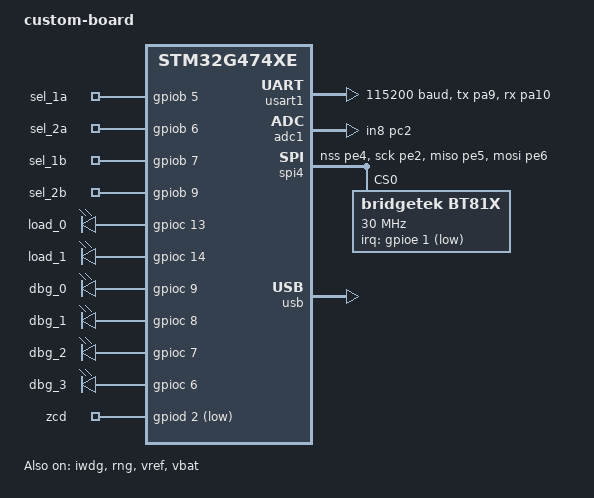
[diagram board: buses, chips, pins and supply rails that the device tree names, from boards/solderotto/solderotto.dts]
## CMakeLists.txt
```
cmake_minimum_required(VERSION 4.0)

find_package(Zephyr REQUIRED HINTS $ENV{ZEPHYR_BASE})
project(app LANGUAGES C)

target_sources(app PRIVATE
        src/main.c
        src/wave_control.c
        src/display.c
        src/storage.c
        src/pid.c
        src/debug.c
        src/moving_average.c
        src/channel.c
        src/comms.c
)

target_include_directories(app PRIVATE include)
```

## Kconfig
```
# Copyright (c) 2021 Nordic Semiconductor ASA
# SPDX-License-Identifier: Apache-2.0
#
# This file is the application Kconfig entry point. All application Kconfig
# options can be defined here or included via other application Kconfig files.
# You can browse these options using the west targets menuconfig (terminal) or
# guiconfig (GUI).

menu "Zephyr"
source "Kconfig.zephyr"
endmenu

module = APP
module-str = APP
source "subsys/logging/Kconfig.template.log_config"

module = CHANNEL
module-str = CHANNEL
source "subsys/logging/Kconfig.template.log_config"

module = DISPLAY
module-str = DISPLAY
source "subsys/logging/Kconfig.template.log_config"

module = WAVE_CTRL
module-str = WAVE_CTRL
source "subsys/logging/Kconfig.template.log_config"
```

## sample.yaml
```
# This file is provided so that the application can be compiled using Twister,
# the Zephyr testing tool. In this file, multiple combinations can be specified,
# so that you can easily test all of them locally or in CI.
sample:
  description: Example application
  name: example-application 
common:
  build_only: true
  integration_platforms:
    - solderotto
tests:
  app.default: {}
  app.debug:
    extra_overlay_confs:
      - debug.conf
```

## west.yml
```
manifest:
  self:
    west-commands: scripts/west-commands.yml

  remotes:
    - name: zephyrproject-rtos
      url-base: https://github.com/zephyrproject-rtos

  projects:
    - name: zephyr
      remote: zephyrproject-rtos
      revision: v4.2.0
      import:
        # By using name-allowlist we can clone only the modules that are
        # strictly needed by the application.
        name-allowlist:
          - cmsis_6      # required by the ARM port
          - hal_stm32  # required by the nucleo_f302r8 board (STM32 based)
          - segger     # required by Segger RTT
          - mcuboot
          - mbedtls
        path-prefix: deps
```

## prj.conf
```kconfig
# Log config
CONFIG_LOG=y
CONFIG_LOG_MODE_DEFERRED=y
CONFIG_LOG_RUNTIME_FILTERING=y
CONFIG_LOG_BUFFER_SIZE=2048
CONFIG_LOG_PRINTK=y
CONFIG_LOG_PROCESS_TRIGGER_THRESHOLD=0
CONFIG_COVERAGE=n
CONFIG_LOG_TAG_MAX_LEN=8

# RTT config
CONFIG_USE_SEGGER_RTT=y
CONFIG_LOG_BACKEND_UART=n
CONFIG_LOG_BACKEND_RTT=y

# Thread config
CONFIG_THREAD_MONITOR=y
CONFIG_THREAD_NAME=y

# Debugging
CONFIG_DEBUG_OPTIMIZATIONS=y
CONFIG_APP_LOG_LEVEL_DBG=y
#CONFIG_CHANNEL_LOG_LEVEL_DBG=y

# Storage configuration
CONFIG_NVS=y
```

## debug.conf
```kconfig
# Copyright (c) 2021 Nordic Semiconductor ASA
# SPDX-License-Identifier: Apache-2.0
#
# This is a Kconfig fragment which can be used to enable debug-related options
# in the application. See the README for more details.

# compiler
CONFIG_DEBUG_OPTIMIZATIONS=y
CONFIG_THREAD_RUNTIME_STATS=y
CONFIG_DEBUG_THREAD_INFO=y

# logging
CONFIG_LOG=y
CONFIG_APP_LOG_LEVEL_DBG=y
```

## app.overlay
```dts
/* SPDX-License-Identifier: Apache-2.0 */

/ {

};
```

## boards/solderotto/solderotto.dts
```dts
/*
 *
 * SPDX-License-Identifier: Apache-2.0
 */

/dts-v1/;
#include <st/g4/stm32g474Xe.dtsi>
#include <st/g4/stm32g474r(b-c-e)tx-pinctrl.dtsi>
#include <zephyr/dt-bindings/input/input-event-codes.h>

/ {
	model = "custom-board";
	compatible = "st,stm-custom";

	chosen {
		zephyr,sram = &sram0;
		zephyr,flash = &flash0;
		zephyr,code-partition = &slot0_partition;
	};

	channel_out {
		compatible = "gpio-leds";
		sel_1a: sel_1a{
			gpios = <&gpiob 5 GPIO_ACTIVE_HIGH>;
		};
		sel_2a: sel_2a {
			gpios = <&gpiob 6 GPIO_ACTIVE_HIGH>;
		};
		sel_1b: sel_1b {
			gpios = <&gpiob 7 GPIO_ACTIVE_HIGH>;
		};
		sel_2b: sel_2b {
			gpios = <&gpiob 9 GPIO_ACTIVE_HIGH>;
		};
		load_0: load0 {
			gpios = <&gpioc 13 GPIO_ACTIVE_HIGH>;
		};
		load_1: load1 {
			gpios = <&gpioc 14 GPIO_ACTIVE_HIGH>;
		};
		dbg_0: dbg_0 {
			gpios = <&gpioc 9 GPIO_OPEN_DRAIN>;
		};
		dbg_1: dbg_1 {
			gpios = <&gpioc 8 GPIO_OPEN_DRAIN>;
		};
		dbg_2: dbg_2 {
			gpios = <&gpioc 7 GPIO_OPEN_DRAIN>;
		};
		dbg_3: dbg_3 {
			gpios = <&gpioc 6 GPIO_OPEN_DRAIN>;
		};
	};

	buttons {
		compatible = "gpio-keys";

		zcd0: zcd_0 {
			gpios = <&gpiod 2 GPIO_ACTIVE_LOW>;
			label = "zcd";
		};
	};

	aliases {
		volt-sensor0 = &vref;
		volt-sensor1 = &vbat;
		ch0-sel-1a = &sel_1a;
		ch0-sel-2a = &sel_2a;
		ch0-sel-1b = &sel_1b;
		ch0-sel-2b = &sel_2b;
		ch0-load-a = &load_0;
		ch0-load-b = &load_1;
		zcd = &zcd0;
		dbg-0 = &dbg_0;
		dbg-1 = &dbg_1;
		dbg-2 = &dbg_2;
		dbg-3 = &dbg_3;
	};

//	soc {
//		quadspi: quadspi@a0001000 {
//			compatible = "st,stm32-qspi";
//			#address-cells = <1>;
//			#size-cells = <0>;
//			reg = <0xa0001000 0x400>;
//			interrupts = <71 0>;
//			clocks = <&rcc STM32_CLOCK_BUS_AHB3 0x00000100>;
//			status = "disabled";
//		};
//	};
};

&dma2 {
	status = "okay";
};

//&quadspi {
//	pinctrl-0 = <&quadspi1_clk_pe10 &quadspi1_bk1_ncs_pe11
//				 &quadspi1_bk1_io3_pe15 &quadspi1_bk1_io2_pe14
//				 &quadspi1_bk1_io1_pe13 &quadspi1_bk1_io0_pe12>;
//	pinctrl-names = "default";
//
//	status = "okay";
//
//	mx25r6435f: qspi-nor-flash@90000000 {
//		compatible = "st,stm32-qspi-nor";
//		reg = <0x90000000 DT_SIZE_M(8)>; /* 64 Mbits */
//		qspi-max-frequency = <80000000>;
//		reset-gpios = <&gpiod 3 GPIO_ACTIVE_LOW>;
//		reset-gpios-duration = <1>;
//		spi-bus-width = <4>;
//		status = "okay";
//
//		foobar: partitions {
//			compatible = "fixed-partitions";
//			#address-cells = <1>;
//			#size-cells = <1>;
//
//			partition@0 {
//				label = "nor";
//				reg = <0x00000000 DT_SIZE_M(4)>;
//			};
//		};
//	};
//};

&clk_lsi {
	status = "okay";
};

&clk_hsi {
	status = "okay";
};

&clk_hsi48 {
	status = "okay";
};

&pll {
	div-m = <1>;
	mul-n = <20>;
	div-p = <2>;
	div-q = <8>;
	div-r = <2>;
	clocks = <&clk_hsi>;
	status = "okay";
};

&rcc {
	clocks = <&pll>;
	clock-frequency = <DT_FREQ_M(160)>;
	ahb-prescaler = <1>;
	apb1-prescaler = <1>;
	apb2-prescaler = <1>;
};

&usart1 {
	pinctrl-0 = <&usart1_tx_pa9 &usart1_rx_pa10>;
	pinctrl-names = "default";
	current-speed = <115200>;
	stop-bits = "1";
	data-bits = <8>;
	status = "okay";
};


&flash0 {
	partitions {
		compatible = "fixed-partitions";
		#address-cells = <1>;
		#size-cells = <1>;

		boot_partition: partition@0 {
			label = "mcuboot";
			reg = <0x00000000 DT_SIZE_K(34)>;
		};
		slot0_partition: partition@8800 {
			label = "image-0";
			reg = <0x00008800 DT_SIZE_K(234)>;
		};
		slot1_partition: partition@44800 {
			label = "image-1";
			reg = <0x00044800 DT_SIZE_K(234)>;
		};
		/* Set 10Kb of storage at the end of the 512Kb of flash */
		storage_partition: partition@7f000 {
			label = "storage";
			reg = <0x0007f000 DT_SIZE_K(10)>;
		};
	};
};

&iwdg {
	status = "okay";
};

&rng {
	status = "okay";
};

&adc1 {
	pinctrl-0 = <&adc1_in8_pc2>;
	pinctrl-names = "default";
	st,adc-clock-source = "SYNC";
	st,adc-prescaler = <4>;
	status = "okay";
};

&vref {
	status = "okay";
};

&vbat {
	status = "okay";
};

&spi4 {
	pinctrl-0 = <&spi4_nss_pe4 &spi4_sck_pe2 &spi4_miso_pe5 &spi4_mosi_pe6>;
	pinctrl-names = "default";

	status = "okay";

	bt81x: bt81x@0 {
		compatible = "bridgetek,bt81x";

		reg = <0x0>;
		spi-max-frequency = <30000000>;
		irq-gpios = <&gpioe 1 GPIO_ACTIVE_LOW>;

		hsize = <800>;
		vsize = <480>;
		hcycle = <816>;
		hoffset = <8>;
		hsync0 = <0>;
		hsync1 = <4>;
		vcycle = <496>;
		voffset = <8>;
		vsync0 = <0>;
		vsync1 = <4>;
		pclk = <1>;
		swizzle = <0>;
		pclk_pol = <1>;
		cspread = <0>;
		dither = <0>;
		pclk_freq = <3348>;
		pclk_2x = <0>;

		status = "okay";
	};
};

&usb {
	status = "okay";
};
```

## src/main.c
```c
#include <zephyr/drivers/gpio.h>
#include <zephyr/logging/log.h>
#include <app_version.h>
#include <zephyr/drivers/adc.h>
#include <zephyr/drivers/flash.h>

#include "debug.h"
#include "display.h"
#include "wave_control.h"
#include "storage.h"
#include "channel.h"

#define APP_LOG_LEVEL_DBG
LOG_MODULE_REGISTER(main, CONFIG_APP_LOG_LEVEL);

#define SPI_FLASH_TEST_REGION_OFFSET 0xff000

#define SPI_FLASH_SECTOR_SIZE        4096
#define SPI_FLASH_MULTI_SECTOR_TEST
#define SPI_FLASH_COMPAT st_stm32_qspi_nor

K_THREAD_STACK_DEFINE(wave_control_task_stack, WAVE_CTRL_TASK_STACK_SIZE);
K_THREAD_STACK_DEFINE(display_task_stack, DISPLAY_TASK_STACK_SIZE);
K_THREAD_STACK_DEFINE(detection_task_stack, CHANNEL_DETECTION_TASK_STACK_SIZE);

struct k_thread display_thread;
struct k_thread wave_control_thread;
struct k_thread channel_thread;



int main(void)
{
    LOG_INF("Starting Solderotto %s", APP_VERSION_STRING);






    // storage_init();
    // dbg_init();

    // wave_control_init();
    //
    // k_thread_create(&wave_control_thread, wave_control_task_stack,
    //                 K_THREAD_STACK_SIZEOF(wave_control_task_stack),
    //                 wave_control_run, NULL, NULL, NULL,
    //                 WAVE_CTRL_TASK_PRIORITY, 0, K_NO_WAIT);
    //
    // k_thread_name_set(&wave_control_thread, "wave_control");
    //
    // k_thread_create(&display_thread, display_task_stack,
    //                 K_THREAD_STACK_SIZEOF(display_task_stack),
    //                 display_run, NULL, NULL, NULL,
    //                 DISPLAY_TASK_PRIORITY, 0, K_NO_WAIT);
    //
    // k_thread_name_set(&display_thread, "display");



    k_thread_create(&channel_thread, detection_task_stack,
                    K_THREAD_STACK_SIZEOF(detection_task_stack),
                    channel_detection_run, NULL, NULL, NULL,
                    CHANNEL_DETECTION_TASK_PRIORITY, 0, K_NO_WAIT);

    k_thread_name_set(&channel_thread, "channel_detect");
    return 0;
}
```

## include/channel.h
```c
#ifndef CHANNEL_H
#define CHANNEL_H

#include <zephyr/drivers/adc.h>
#include <zephyr/drivers/gpio.h>

#include "pid.h"
#include "moving_average.h"

#define CHANNEL_TIPS_CNT 2
#define CHANNEL_LOAD_CNT 2

#define CHANNEL_DETECTION_TASK_PRIORITY 11
#define CHANNEL_DETECTION_TASK_STACK_SIZE 1024

enum channel_type
{
    CHANNEL_TYPE_DISCONNECTED = 0,
    CHANNEL_TYPE_T210,
    CHANNEL_TYPE_T245,
    CHANNEL_TYPE_AM120,
};

enum tip
{
    TIP_A = 0,
    TIP_B = 1,
    TIP_ALL = 2,
};

enum measure_config
{
    MEASURE_CONFIG_TIP = 0,
    MEASURE_CONFIG_EARTH,
    MEASURE_CONFIG_TIP_INV,
    MEASURE_CONFIG_DIFF,
};

struct tip_data
{
    int32_t mv;
    int32_t filtered;
    float temp;
    struct moving_average filter;
};

struct channel_tip
{
    struct
    {
        struct gpio_dt_spec a;
        struct gpio_dt_spec b;
    } select[CHANNEL_TIPS_CNT];

    enum measure_config config;
    uint16_t buffer[CHANNEL_TIPS_CNT];
    struct adc_sequence sequence;
    struct adc_channel_cfg adc_cfg[CHANNEL_TIPS_CNT];
};

struct channel_load_current
{
    uint16_t buffer[CHANNEL_LOAD_CNT];
    struct adc_sequence sequence;
    struct adc_channel_cfg adc_cfg[CHANNEL_LOAD_CNT];
};

struct channel_handle_id
{
    uint16_t buffer;
    struct adc_sequence sequence;
    struct adc_channel_cfg adc_cfg;
    struct moving_average filter;
};

struct channel_interrupt
{
    struct k_work_delayable dwork;
    struct gpio_callback cb;
    struct gpio_dt_spec pin;
    int last_pin_state;
};

struct channel_control
{
    struct channel_interrupt tip_change;
    struct channel_interrupt stand;

    struct channel_handle_id handle_id;
};

typedef struct channel
{
    uint8_t active_tip_cnt;
    enum channel_type type;

    const struct device* adc_dev;
    struct channel_interrupt tip_change;
    struct channel_interrupt stand;

    struct channel_handle_id handle_id;
    struct channel_tip tip;
    struct channel_load_current load;

    struct gpio_dt_spec load_switches[CHANNEL_TIPS_CNT];
    struct tip_data tip_data[CHANNEL_TIPS_CNT];
    struct pid pid[CHANNEL_TIPS_CNT];
} solder_channel_t;

int channel_init(struct channel* self);
int channel_detect(struct channel* self);
int channel_read_tip(struct channel* self);
int channel_set_measure(struct channel* self, enum tip tip, enum measure_config config);
int channel_process(struct channel* self, float* temperature);

int channel_ctrl_init(struct channel_control* self);
int channel_detection_init(void);
void channel_detection_run();
#endif // CHANNEL_H
```

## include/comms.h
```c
#ifndef COMMS_H
#define COMMS_H
#include <zephyr/kernel.h>

struct display_msg
{
    float set_point;
    float temperature;
};

extern struct k_msgq control_msgq;
#endif // COMMS_H
```

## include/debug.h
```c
#ifndef DEBUG_H
#define DEBUG_H

int dbg_init();

int dbg_pin_set(int pin, int value);

int dbg_pin_toggle(int pin);

#endif // DEBUG_H
```

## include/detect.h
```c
#ifndef DETECT_H
#define DETECT_H

#define CHANNEL_TASK_PRIORITY 11
#define CHANNEL_TASK_STACK_SIZE 1024

void channel_detect_run();

#endif // DETECT_H
```

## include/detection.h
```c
//
// Created by arghfu on 16.09.25.
//

#ifndef APP_DETECTION_H
#define APP_DETECTION_H


#define DETECTION_TASK_PRIORITY 11
#define DETECTION_TASK_STACK_SIZE 1024

int detection_init(void);
void detection_run();

#endif //APP_DETECTION_H
```

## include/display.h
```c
#ifndef DISPLAY_H
#define DISPLAY_H

#define DISPLAY_TASK_PRIORITY 12
#define DISPLAY_TASK_STACK_SIZE 1024

int display_init(void);

void display_run();

int display_calibrate(void);

#endif // DISPLAY_H
```

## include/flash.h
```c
#ifndef FLASH_H
#define FLASH_H

int flash_init();
int flash_write(int addr, int value);
int flash_read(int addr);

#endif // FLASH_H
```

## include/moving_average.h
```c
#ifndef MOVING_AVERAGE_H
#define MOVING_AVERAGE_H

#include <stdint.h>

#define MOVING_AVERAGE_MAX_LENGTH 200

typedef struct moving_average
{
    uint32_t sum;
    uint32_t history[MOVING_AVERAGE_MAX_LENGTH];
    uint32_t window_length;
    uint32_t *act_value;
} moving_average_t;

void moving_average_init(moving_average_t *ma, uint32_t window_length);
uint32_t moving_average_add_value(moving_average_t *ma, uint32_t value);

#endif // MOVING_AVERAGE_H
```

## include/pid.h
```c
#ifndef PID_H
#define PID_H

#define KP_T210 		7
#define KI_T210 		4
#define KD_T210 		0.3
#define MAX_I_T210 		300

#define KP_T245         8
#define KI_T245         2
#define KD_T245         0.5
#define MAX_I_T245      300

#include <stdint.h>

struct pid_limit
{
    float limit_low;
    float limit_high;
};

struct pid_data
{
    float Kp;
    float Ki;
    float Kd;
};

struct pid
{
    float Kp;
    float Ki;
    float Kd;
    float last_time;
    float last_error;
    float last_command;
    float proportional_error;
    float integral_error;
    float derivative_error;
    float set_point;
    struct pid_limit output_limit;
    struct pid_limit integral_limit;
    uint64_t (*get_time)(void);
};

int pid_init(struct pid* pid, float Kp, float Ki, float Kd, float lim, float int_lim);
int pid_set_gains(struct pid* pid, float Kp, float Ki, float Kd);
int pid_set_setpoint(struct pid* pid, float set_point);
float pid_process(struct pid* pid, float temp);
int pid_set_time_function(struct pid* pid, uint64_t (*timer_func)(void));
void pid_load_settings(struct pid* pid, struct pid_data* data);
#endif // PID_H
```

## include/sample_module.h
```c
/*
 * Copyright (c) 2018 Nordic Semiconductor ASA
 *
 * SPDX-License-Identifier: Apache-2.0
 */
#ifndef SAMPLE_MODULE_H
#define SAMPLE_MODULE_H

#include <zephyr/logging/log.h>

#ifdef __cplusplus
extern "C" {
#endif

#define MODULE_NAME sample_module

const char *sample_module_name_get(void);
void sample_module_func(void);

static inline void inline_func(void)
{
	LOG_MODULE_DECLARE(MODULE_NAME, CONFIG_APP_LOG_LEVEL);

	LOG_INF("Inline function.");
}

#ifdef __cplusplus
}
#endif

#endif /* SAMPLE_MODULE_H */
```

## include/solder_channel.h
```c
#pragma once
#include <stdbool.h>

typedef struct solder_channel
{
    bool enabled;
} solder_channel_t;
```

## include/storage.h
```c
#ifndef FLASH_H
#define FLASH_H

#include "pid.h"

int storage_init();
// int flash_write(int addr, int value);
// int flash_read(int addr);
#endif // FLASH_H
```
